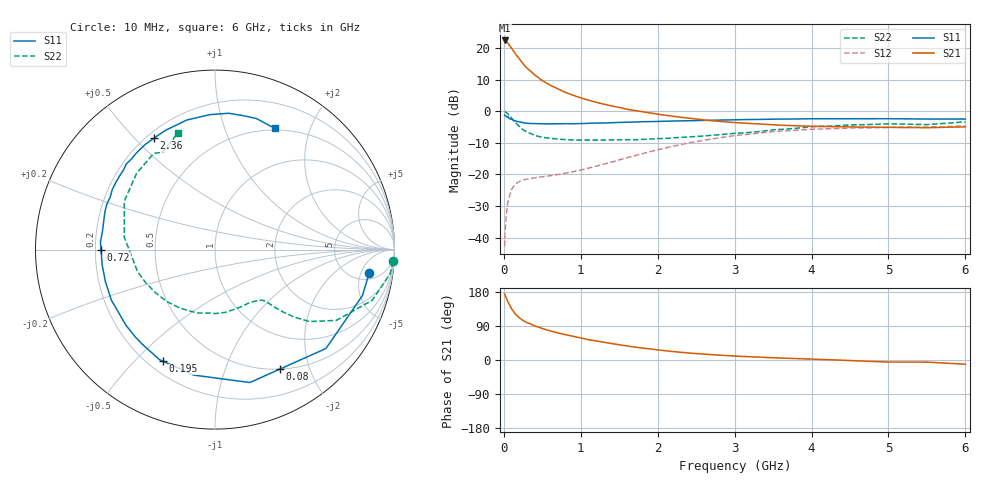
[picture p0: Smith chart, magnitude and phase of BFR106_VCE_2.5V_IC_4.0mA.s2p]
! Infineon Technologies  Discrete & RF Semiconductors
! BFR106
! VCE =  2.5 V,  IC =  4.0 mA
! Common Emitter S-Parameters:  Nov 2015
# GHz  S  MA  R  50
!  f  S11  S21  S12  S22
! GHz  MAG  ANG  MAG  ANG  MAG  ANG  MAG  ANG
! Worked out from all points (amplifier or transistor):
!   210 points, 10 MHz to 6 GHz, reference 50 ohm
!   highest |S21| = 22.5 dB at 10 MHz (marker M1)
!   |S21| within 3 dB of that: start of sweep to 116.9 MHz
!   unconditionally stable (mu >= 1): 658.1 MHz to 2.1 GHz; 4.137 GHz to end of sweep
!   at 185 MHz: K = 0.34, MSG = 19.8 dB, |S12| = -22.5 dB
!   at 1.52 GHz: K = 1.14, MAG = 5.9 dB, |S12| = -15.2 dB
!   at 6 GHz: K = 1.02, MAG = -1.1 dB, |S12| = -4.6 dB
!   S11 on the Smith chart (normalised r, x): 10 MHz: 6.59, -7.06; 80 MHz: 0.50, -1.57; 195 MHz: 0.26, -0.61; 720 MHz: 0.22, -0.00; 2.36 GHz: 0.23, +0.57; 6 GHz: 0.48, +1.51
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0.01  0.8687 -8.7  13.29 174.0  0.0073 88.0  0.9938 -3.8
0.02  0.8606 -17.3  13.1 169.4  0.0147 80.7  0.9862 -7.7
0.05  0.8281 -41.7  12.16 154.0  0.035 68.6  0.9201 -17.9
0.08  0.7578 -61.3  10.8 143.6  0.0484 58.0  0.8331 -24.8
0.1  0.7657 -75.3  10.14 135.3  0.0579 53.8  0.7831 -30.2
0.15  0.7091 -99.7  8.177 120.8  0.0709 43.8  0.6615 -37.3
0.195  0.686 -115.1  6.912 112.7  0.0766 39.3  0.5839 -40.2
0.24  0.665 -127.4  5.875 105.7  0.081 36.1  0.5231 -42.2
0.26  0.6593 -132.0  5.495 103.0  0.0824 35.3  0.5024 -42.8
0.3  0.6509 -139.7  4.853 98.6  0.0843 34.5  0.4715 -43.7
0.4  0.6424 -153.9  3.79 90.0  0.0884 33.6  0.4165 -45.1
0.5  0.6361 -163.8  3.073 82.9  0.0918 34.8  0.3874 -46.7
0.6  0.6344 -172.1  2.606 76.7  0.0955 37.2  0.3735 -49.1
0.72  0.6353 -179.8  2.211 70.5  0.1004 40.6  0.3627 -52.6
1.02  0.6412 164.9  1.609 57.0  0.1188 49.6  0.3506 -63.3
1.4  0.6629 149.8  1.217 43.4  0.1566 57.4  0.3539 -80.0
2.02  0.6938 129.1  0.895 26.2  0.2494 58.1  0.3695 -111.8
2.36  0.7081 118.9  0.792 19.3  0.3081 54.3  0.3905 -130.6
3.1  0.7397 100.3  0.653 9.5  0.4246 40.8  0.4545 -169.4
4.1  0.7625 83.0  0.577 1.7  0.5247 20.9  0.5762 148.6
5.1  0.7631 71.4  0.557 -5.5  0.5571 5.6  0.6312 121.6
6  0.7546 63.5  0.568 -11.1  0.5873 -5.0  0.6837 107.4
